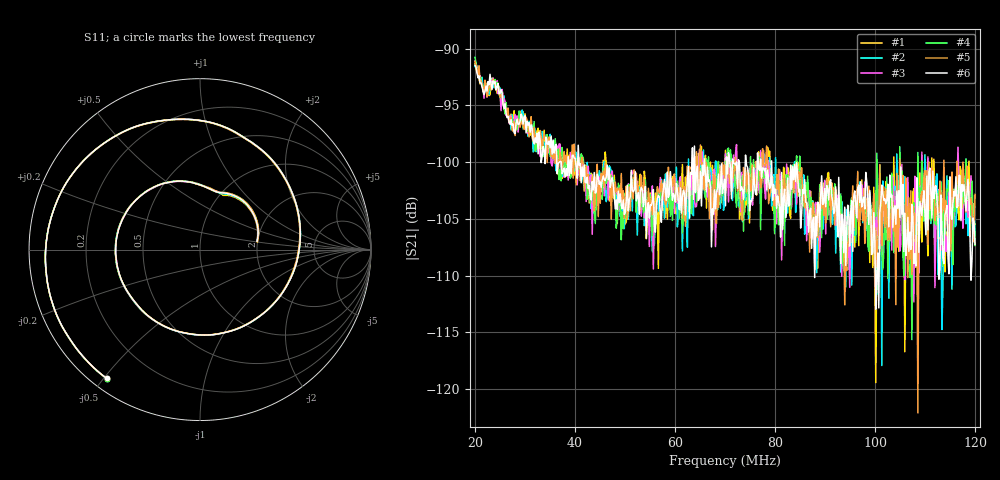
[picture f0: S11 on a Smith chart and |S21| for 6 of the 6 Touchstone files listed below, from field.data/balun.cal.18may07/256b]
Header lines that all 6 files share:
! Anritsu VNA Master:  Model: MS2036C/10/77
! SN:  1601066
! Existing Calibration Information:
! TYPE:  Current Settings,  Active Cal Settings
! # POINTS:  500,  500
! START FREQ:  20.000 MHz,  20.000 MHz
! STOP FREQ:  120.000 MHz,  120.000 MHz
! SOURCE POWER:  High,  High
! IFBW:  50 Hz,  50 Hz
! AVG FACTOR:  1 ,  1
! REF PLANE 1:  0 mm,  0 mm
! REF PLANE 2:  0 mm,  0 mm
! CAL TYPE:  Full S11,  Full S11
! CAL METHOD:  SOLT,  SOLT
! CAL LINE TYPE:  Coax,  Coax
! DUT PORT 1:  K-Conn(F),  K-Conn(F)
! DUT PORT 2:  K-Conn(F),  K-Conn(F)
! CAL STATUS:  OK: Accuracy High,  --
# GHZ S DB R 50.0
! FREQ.GHZ  S11DB  S11A  S21DB  S21A  S12DB  S12A  S22DB  S22A
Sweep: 20 MHz to 120 MHz
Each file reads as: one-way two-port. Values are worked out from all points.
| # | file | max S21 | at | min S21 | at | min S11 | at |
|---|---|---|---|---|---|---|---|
| 1 | a.6b.m1.ignore.s2p | -91.31 dB | 20 MHz | -119.4 dB | 100.2 MHz | -9.5 dB | 120 MHz |
| 2 | a.6b.m2.s2p | -91.19 dB | 20.2 MHz | -117.9 dB | 101.4 MHz | -9.4 dB | 120 MHz |
| 3 | a.6b.m5.s2p | -91.07 dB | 20 MHz | -112.3 dB | 107.8 MHz | -9.4 dB | 120 MHz |
| 4 | a.6b.m8.s2p | -90.77 dB | 20 MHz | -115.6 dB | 107.4 MHz | -9.4 dB | 120 MHz |
| 5 | a.6b.m10.s2p | -91.13 dB | 20 MHz | -122.1 dB | 108.6 MHz | -9.4 dB | 120 MHz |
| 6 | a.6b.m11.s2p | -91.49 dB | 20 MHz | -113.0 dB | 100.2 MHz | -9.4 dB | 120 MHz |
